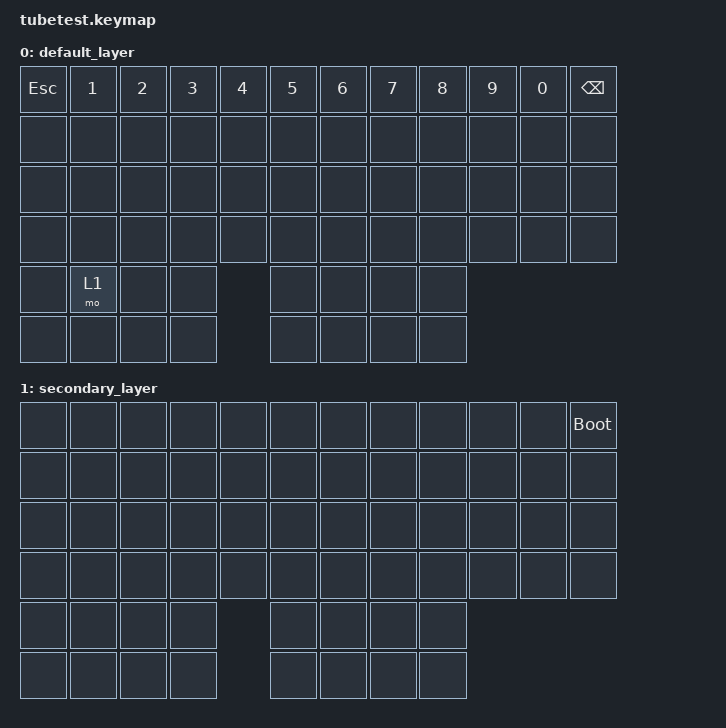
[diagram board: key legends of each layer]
#include <behaviors.dtsi>
#include <dt-bindings/zmk/keys.h>

/ {
 keymap {
    compatible = "zmk,keymap";

    default_layer {
     bindings = <
    &kp ESC &kp N1 &kp N2 &kp N3 &kp N4 &kp N5 &kp N6 &kp N7 &kp N8 &kp N9 &kp N0 &kp BSPC
    &none &none &none &none  &none &none    &none &none &none &none  &none  &none
    &none &none &none &none  &none &none    &none &none &none &none  &none  &none
    &none &none &none &none  &none &none    &none &none &none &none  &none  &none
    &none &mo 1 &none &none &none           &none &none &none
    &none &none &none &none &none           &none &none &none
     >;
    };

    secondary_layer {
     bindings = <
    &none &none &none &none  &none &none    &none &none &none &none  &none  &bootloader
    &none &none &none &none  &none &none    &none &none &none &none  &none  &none
    &none &none &none &none  &none &none    &none &none &none &none  &none  &none
    &none &none &none &none  &none &none    &none &none &none &none  &none  &none
    &none &none &none &none &none           &none &none &none
    &none &none &none &none &none           &none &none &none
     >;
    };

};
};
